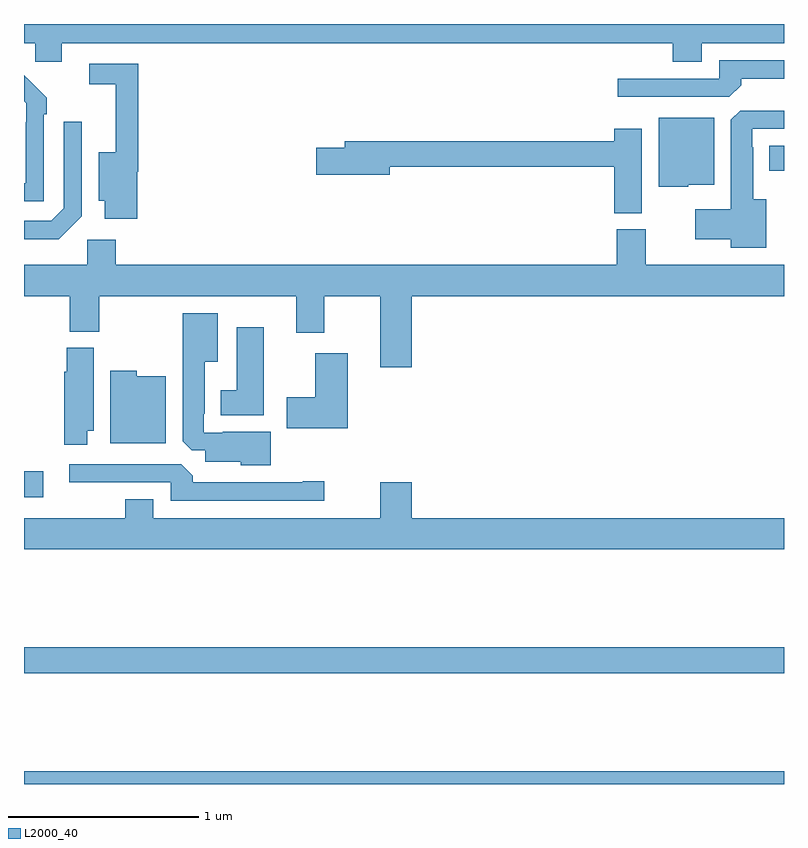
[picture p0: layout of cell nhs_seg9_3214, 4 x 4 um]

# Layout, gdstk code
import gdstk
lib = gdstk.Library(unit=1e-6, precision=1e-09)
def R(c, l, rs):  # rectangles x0, y0, x1, y1
    for r in rs: c.add(gdstk.rectangle(r[:2], r[2:], *l))
def P(c, l, *ps):  # polygons
    for p in ps: c.add(gdstk.Polygon(p, *l))
L2000_40 = (2000, 40)

nhs_seg9_3214 = lib.new_cell('nhs_seg9_3214')
R(nhs_seg9_3214, L2000_40, [(295,1212.5,299,1212.568), (295,1213.084,299,1213.22), (295,1214.009,295.102,1214.147), (298.922,1215.728,299,1215.859)])
P(nhs_seg9_3214, L2000_40, [(295,1216.4),(295.059,1216.4),(295.059,1216.302),(295.198,1216.302),(295.198,1216.4),(298.415,1216.4),(298.415,1216.301),(298.567,1216.301),(298.567,1216.4),(299,1216.4),(299,1216.5),(295,1216.5)],
  [(298.775,1216.178),(298.775,1216.212),(299,1216.212),(299,1216.308),(298.659,1216.308),(298.659,1216.212),(298.125,1216.212),(298.125,1216.116),(298.713,1216.116)],
  [(295.595,1215.722),(295.601,1215.722),(295.601,1216.29),(295.344,1216.29),(295.344,1216.182),(295.484,1216.182),(295.484,1215.826),(295.394,1215.826),(295.394,1215.569),(295.424,1215.569),(295.424,1215.474),(295.595,1215.474)],
  [(295.104,1216.025),(295.119,1216.025),(295.119,1216.113),(295.014,1216.218),(295.013,1216.217),(295,1216.23),(295,1216.094),(295.011,1216.083),(295.011,1215.983),(295.008,1215.983),(295.008,1215.663),(295,1215.663),(295,1215.567),(295.104,1215.567)],
  [(298.906,1215.577),(298.837,1215.577),(298.837,1215.851),(298.833,1215.851),(298.833,1215.948),(299,1215.948),(299,1216.044),(298.77,1216.044),(298.721,1215.995),(298.721,1215.526),(298.533,1215.526),(298.533,1215.368),(298.721,1215.368),(298.721,1215.323),(298.906,1215.323)],
  [(298.497,1215.653),(298.633,1215.653),(298.633,1216.006),(298.34,1216.006),(298.34,1215.644),(298.497,1215.644)],
  [(295.305,1215.489),(295.305,1215.985),(295.209,1215.985),(295.209,1215.531),(295.143,1215.465),(295,1215.465),(295,1215.368),(295.184,1215.368)],
  [(298.252,1215.949),(298.106,1215.949),(298.106,1215.884),(296.687,1215.884),(296.687,1215.848),(296.538,1215.848),(296.538,1215.706),(296.926,1215.706),(296.926,1215.748),(298.106,1215.748),(298.106,1215.505),(298.252,1215.505)],
  [(297.04,1215.068),(299,1215.068),(299,1215.232),(298.273,1215.232),(298.273,1215.42),(298.121,1215.42),(298.121,1215.232),(295.484,1215.232),(295.484,1215.364),(295.332,1215.364),(295.332,1215.232),(295,1215.232),(295,1215.068),(295.24,1215.068),(295.24,1214.881),(295.395,1214.881),(295.395,1215.068),(296.432,1215.068),(296.432,1214.874),(296.58,1214.874),(296.58,1215.068),(296.876,1215.068),(296.876,1214.694),(297.04,1214.694)],
  [(296.299,1214.353),(296.047,1214.353),(296.047,1214.349),(295.947,1214.349),(295.947,1214.449),(295.951,1214.449),(295.951,1214.723),(296.02,1214.723),(296.02,1214.977),(295.835,1214.977),(295.835,1214.305),(295.884,1214.256),(295.955,1214.256),(295.955,1214.195),(296.142,1214.195),(296.142,1214.177),(296.299,1214.177)],
  [(296.263,1214.905),(296.12,1214.905),(296.12,1214.572),(296.036,1214.572),(296.036,1214.441),(296.263,1214.441)],
  [(295.333,1214.36),(295.366,1214.36),(295.366,1214.796),(295.225,1214.796),(295.225,1214.67),(295.211,1214.67),(295.211,1214.286),(295.333,1214.286)],
  [(296.704,1214.767),(296.534,1214.767),(296.534,1214.535),(296.382,1214.535),(296.382,1214.372),(296.704,1214.372)],
  [(295.747,1214.647),(295.593,1214.647),(295.593,1214.674),(295.454,1214.674),(295.454,1214.294),(295.747,1214.294)],
  [(296.581,1214.093),(296.468,1214.093),(296.468,1214.088),(295.889,1214.088),(295.889,1214.122),(295.827,1214.184),(295.239,1214.184),(295.239,1214.088),(295.773,1214.088),(295.773,1213.992),(296.581,1213.992)],
  [(299,1213.9),(297.04,1213.9),(297.04,1214.089),(296.876,1214.089),(296.876,1213.9),(295.681,1213.9),(295.681,1213.999),(295.534,1213.999),(295.534,1213.9),(295,1213.9),(295,1213.736),(299,1213.736)])

lib.write_gds('nhs_seg9_3214.gds')
